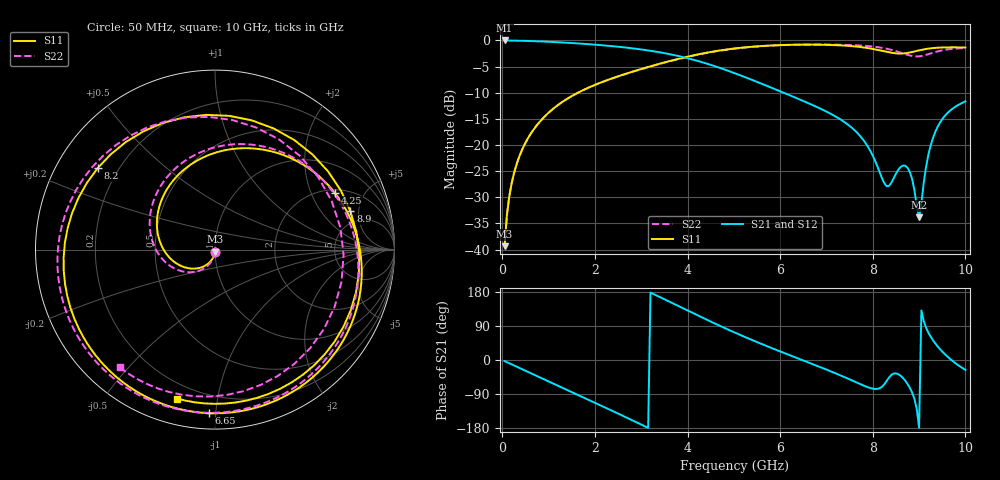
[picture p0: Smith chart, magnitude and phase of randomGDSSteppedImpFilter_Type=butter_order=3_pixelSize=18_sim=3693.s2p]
! freq	dB(S11)	phase(S11)	dB(S12)	phase(S12)
!  dB(S21)	phase(S21)	dB(S22)	phase(S22)
!S-par simulation data
#  GHz  S  DB  R 50
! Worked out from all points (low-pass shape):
!   200 points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, 50 MHz to 10 GHz, reference 50 ohm
!   highest |S21| = -0.01 dB at 50 MHz (marker M1); lowest = -33.8 dB at 9 GHz (marker M2)
!   |S21| within 3 dB of the highest: start of sweep to 3.813 GHz
!   lowest |S11| = -39.4 dB at 50 MHz (marker M3), VSWR 1.02, Z = 49.9 - j1.07 ohm
!   |S11| at or under -10 dB: start of sweep to 1.634 GHz
!   |S22| runs from -39.4 to -0.8 dB; largest |S21 - S12| = 0
!   S11 on the Smith chart (normalised r, x): 50 MHz: 1.00, -0.02; 4.25 GHz: 2.16, +3.01; 6.65 GHz: 0.09, -0.96; 8.2 GHz: 0.12, +0.31; 8.9 GHz: 3.61, +4.03; 10 GHz: 0.12, -0.77
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0.05  -39.36 -92.6  -0.01 -2.9  -0.01 -2.9  -39.35 -92.1
0.2  -27.42 -102.5  -0.03 -11.4  -0.03 -11.4  -27.41 -100.3
0.5  -19.59 -121.5  -0.09 -28.3  -0.09 -28.3  -19.59 -116.1
1.15  -12.71 -161.4  -0.32 -64.9  -0.32 -64.9  -12.71 -150.0
1.75  -9.49 162.8  -0.65 -98.7  -0.65 -98.7  -9.50 178.1
2.65  -6.42 111.4  -1.34 -150.0  -1.34 -150.0  -6.46 126.8
3.4  -4.45 70.4  -2.27 166.1  -2.27 166.1  -4.50 80.0
4.25  -2.63 25.3  -4.00 115.8  -4.00 115.8  -2.68 24.8
5.05  -1.50 -15.4  -6.38 70.8  -6.38 70.8  -1.55 -24.1
5.85  -0.95 -53.8  -9.18 29.8  -9.18 29.8  -0.98 -67.2
6.65  -0.80 -92.2  -12.16 -8.4  -12.16 -8.4  -0.78 -105.9
6.7  -0.80 -94.7  -12.36 -10.7  -12.36 -10.7  -0.78 -108.2
7.5  -1.06 -142.2  -16.36 -51.2  -16.36 -51.2  -0.87 -148.3
7.9  -1.47 -177.2  -20.41 -72.1  -20.41 -72.1  -1.08 -173.4
8.2  -1.98 145.3  -26.38 -70.5  -26.38 -70.5  -1.41 161.8
8.35  -2.27 121.3  -27.84 -46.4  -27.84 -46.4  -1.68 145.9
8.6  -2.51 74.1  -24.22 -41.4  -24.22 -41.4  -2.32 110.7
8.9  -2.11 15.9  -28.66 -102.8  -28.66 -102.8  -3.04 47.7
9  -1.90 -1.3  -33.81 -178.5  -33.81 -178.5  -3.05 22.6
9.2  -1.57 -31.1  -21.90 72.4  -21.90 72.4  -2.63 -25.4
9.45  -1.37 -60.0  -15.74 28.8  -15.74 28.8  -1.98 -71.4
10  -1.35 -104.4  -11.65 -26.1  -11.65 -26.1  -1.47 -129.0
